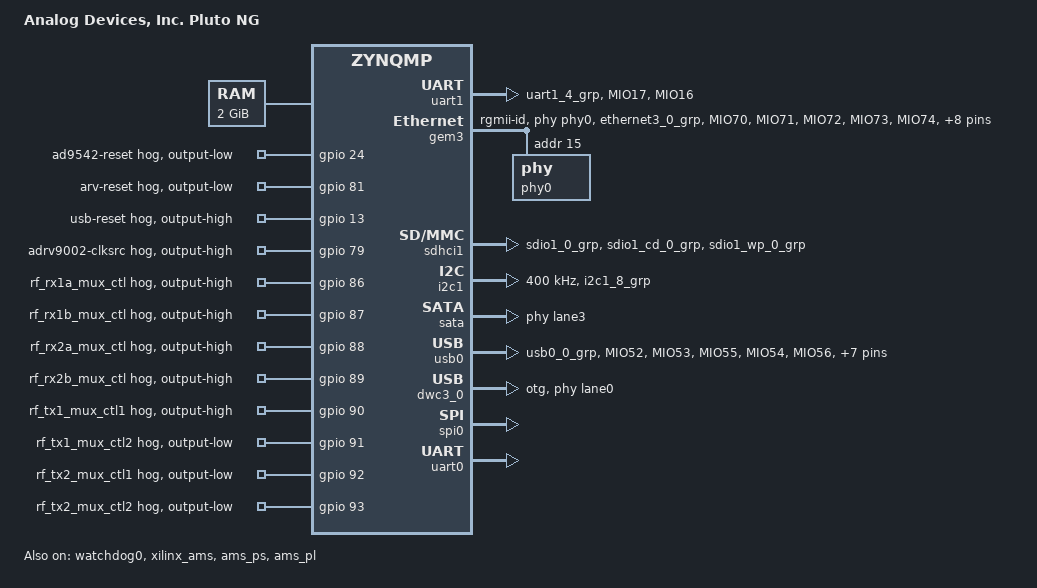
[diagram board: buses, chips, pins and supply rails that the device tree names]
// SPDX-License-Identifier: GPL-2.0
/*
 * dts file for Analog Devices, Inc. Pluto NG
 *
 * hdl_project: <pluto_ng>
 * board_revision: <>
 *
 * Copyright (C) 2021 Analog Devices Inc.
 */

/dts-v1/;

#include "zynqmp.dtsi"
#include "zynqmp-clk-ccf.dtsi"
#include <dt-bindings/interrupt-controller/irq.h>
#include <dt-bindings/input/input.h>
#include <dt-bindings/gpio/gpio.h>
#include <dt-bindings/pinctrl/pinctrl-zynqmp.h>
#include <dt-bindings/phy/phy.h>

/ {
	model = "Analog Devices, Inc. Pluto NG";
	compatible = "xlnx,zynqmp";

	aliases {
		ethernet0 = &gem3;
		mmc0 = &sdhci1;
		rtc0 = &rtc;
		serial0 = &uart1;
		i2c0 = &i2c1;
		spi0 = &spi0;
	};

	chosen {
		bootargs = "earlycon";
		stdout-path = "serial0:115200n8";
	};

	memory@0 {
		device_type = "memory";
		reg = <0x0 0x0 0x0 0x80000000>;
	};
};

&pinctrl0 {
	status = "okay";

	pinctrl_uart1_default: uart1-default {
		mux {
			groups = "uart1_4_grp";
			function = "uart1";
		};

		conf {
			groups = "uart1_4_grp";
			slew-rate = <SLEW_RATE_SLOW>;
			io-standard = <IO_STANDARD_LVCMOS18>;
		};

		conf-rx {
			pins = "MIO17";
			bias-high-impedance;
		};

		conf-tx {
			pins = "MIO16";
			bias-disable;
		};
	};

	pinctrl_gem3_default: gem3-default {
		mux {
			function = "ethernet3";
			groups = "ethernet3_0_grp";
		};

		conf {
			groups = "ethernet3_0_grp";
			slew-rate = <SLEW_RATE_SLOW>;
			io-standard = <IO_STANDARD_LVCMOS18>;
		};

		conf-rx {
			pins = "MIO70", "MIO71", "MIO72",
				"MIO73", "MIO74", "MIO75";
			bias-high-impedance;
			low-power-disable;
		};

		conf-tx {
			pins = "MIO64", "MIO65", "MIO66",
				"MIO67", "MIO68", "MIO69";
			bias-disable;
			low-power-enable;
		};

		mux-mdio {
			function = "mdio3";
			groups = "mdio3_0_grp";
		};

		conf-mdio {
			groups = "mdio3_0_grp";
			slew-rate = <SLEW_RATE_SLOW>;
			io-standard = <IO_STANDARD_LVCMOS18>;
			bias-disable;
		};
	};

	pinctrl_sdhci1_default: sdhci1-default {
		mux {
			groups = "sdio1_0_grp";
			function = "sdio1";
		};

		conf {
			groups = "sdio1_0_grp";
			slew-rate = <SLEW_RATE_SLOW>;
			io-standard = <IO_STANDARD_LVCMOS18>;
			bias-disable;
		};

		mux-cd {
			groups = "sdio1_cd_0_grp";
			function = "sdio1_cd";
		};

		conf-cd {
			groups = "sdio1_cd_0_grp";
			bias-high-impedance;
			bias-pull-up;
			slew-rate = <SLEW_RATE_SLOW>;
			io-standard = <IO_STANDARD_LVCMOS18>;
		};

		mux-wp {
			groups = "sdio1_wp_0_grp";
			function = "sdio1_wp";
		};

		conf-wp {
			groups = "sdio1_wp_0_grp";
			bias-high-impedance;
			bias-pull-up;
			slew-rate = <SLEW_RATE_SLOW>;
			io-standard = <IO_STANDARD_LVCMOS18>;
		};
	};

	pinctrl_i2c1_default: i2c1-default {
		mux {
			groups = "i2c1_8_grp";
			function = "i2c1";
		};

		conf {
			groups = "i2c1_8_grp";
			bias-pull-up;
			slew-rate = <SLEW_RATE_SLOW>;
			io-standard = <IO_STANDARD_LVCMOS18>;
		};
	};

	pinctrl_usb0_default: usb0-default {
		mux {
			groups = "usb0_0_grp";
			function = "usb0";
		};

		conf {
			groups = "usb0_0_grp";
			slew-rate = <SLEW_RATE_SLOW>;
			io-standard = <IO_STANDARD_LVCMOS18>;
		};

		conf-rx {
			pins = "MIO52", "MIO53", "MIO55";
			bias-high-impedance;
		};

		conf-tx {
			pins = "MIO54", "MIO56", "MIO57", "MIO58", "MIO59",
			"MIO60", "MIO61", "MIO62", "MIO63";
			bias-disable;
		};
	};
};

&uart1 {
	status = "okay";
	pinctrl-names = "default";
	pinctrl-0 = <&pinctrl_uart1_default>;
};

&gem3 {
	status = "okay";
	phy-handle = <&phy0>;
	phy-mode = "rgmii-id";
	pinctrl-names = "default";
	pinctrl-0 = <&pinctrl_gem3_default>;

	phy0: phy@f {
		reg = <0xf>;
	};
};

&sdhci1 {
	status = "okay";
	pinctrl-names = "default";
	pinctrl-0 = <&pinctrl_sdhci1_default>;
	xlnx,mio_bank = <1>;
	no-1-8-v;
};

&i2c1 {
	status = "okay";
	clock-frequency = <400000>;
	pinctrl-names = "default";
	pinctrl-0 = <&pinctrl_i2c1_default>;
};

&sata {
	status = "okay";
	ceva,p0-cominit-params = /bits/ 8 <0x18 0x40 0x18 0x28>;
	ceva,p0-comwake-params = /bits/ 8 <0x06 0x14 0x08 0x0E>;
	ceva,p0-burst-params = /bits/ 8 <0x13 0x08 0x4A 0x06>;
	ceva,p0-retry-params = /bits/ 16 <0x96A4 0x3FFC>;
	ceva,p1-cominit-params = /bits/ 8 <0x18 0x40 0x18 0x28>;
	ceva,p1-comwake-params = /bits/ 8 <0x06 0x14 0x08 0x0E>;
	ceva,p1-burst-params = /bits/ 8 <0x13 0x08 0x4A 0x06>;
	ceva,p1-retry-params = /bits/ 16 <0x96A4 0x3FFC>;
	phy-names = "sata-phy";
	phys = <&lane3 PHY_TYPE_SATA 1 2 150000000>;
};

&usb0 {
	status = "okay";
	pinctrl-names = "default";
	pinctrl-0 = <&pinctrl_usb0_default>;
};

&dwc3_0 {
	status = "okay";
	dr_mode = "otg";
	phy-names = "usb3-phy";
	phys = <&lane0 PHY_TYPE_USB3 0 0 26000000>;
	maximum-speed = "super-speed";
};

&gpio {
	status = "okay";

	ad9542_reset {
		gpio-hog;
		gpios = <24 0>;
		output-low;
		line-name = "ad9542-reset";
	};

	adrv_reset {
		gpio-hog;
		gpios = <81 0>;
		output-low;
		line-name = "arv-reset";
	};

	usb_reset {
		gpio-hog;
		gpios = <13 0>;
		output-high;
		line-name = "usb-reset";
	};

	adrv9002_clksrc {
		gpio-hog;
		gpios = <79 0>;
		output-high;
		line-name = "adrv9002-clksrc";
	};

	rf_rx1a_mux_ctl {
		gpio-hog;
		gpios = <86 0>;
		output-high;
		line-name = "rf_rx1a_mux_ctl";
	};
	rf_rx1b_mux_ctl {
		gpio-hog;
		gpios = <87 0>;
		output-high;
		line-name = "rf_rx1b_mux_ctl";
	};
	rf_rx2a_mux_ctl {
		gpio-hog;
		gpios = <88 0>;
		output-high;
		line-name = "rf_rx2a_mux_ctl";
	};
	rf_rx2b_mux_ctl {
		gpio-hog;
		gpios = <89 0>;
		output-high;
		line-name = "rf_rx2b_mux_ctl";
	};
	rf_tx1_mux_ctl1 {
		gpio-hog;
		gpios = <90 0>;
		output-high;
		line-name = "rf_tx1_mux_ctl1";
	};
	rf_tx1_mux_ctl2 {
		gpio-hog;
		gpios = <91 0>;
		output-low;
		line-name = "rf_tx1_mux_ctl2";
	};
	rf_tx2_mux_ctl1 {
		gpio-hog;
		gpios = <92 0>;
		output-low;
		line-name = "rf_tx2_mux_ctl1";
	};
	rf_tx2_mux_ctl2 {
		gpio-hog;
		gpios = <93 0>;
		output-low;
		line-name = "rf_tx2_mux_ctl2";
	};
};

&spi0 {
	status = "okay";
};

&watchdog0 {
	status = "okay";
};

&xilinx_ams {
	status = "okay";
};

&ams_ps {
	status = "okay";
};

&ams_pl {
	status = "okay";
};

&uart0 {
	status = "okay";
};

